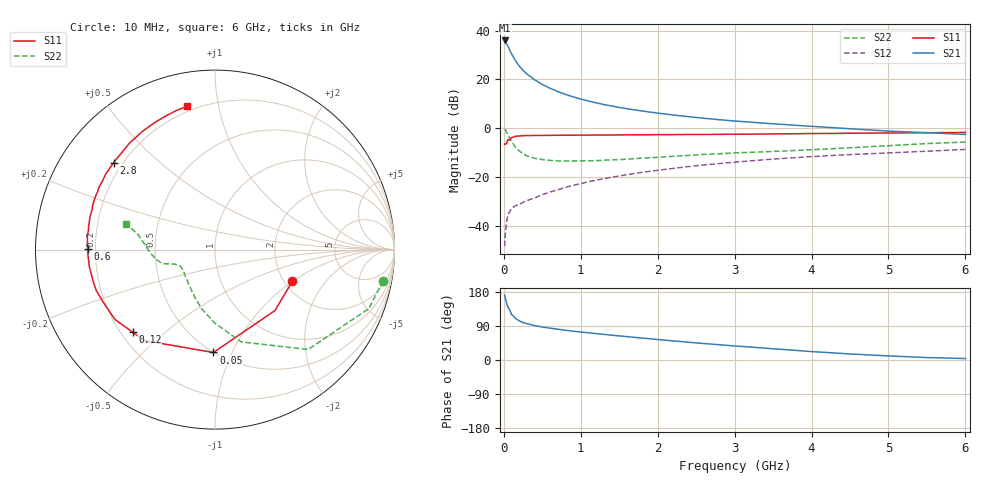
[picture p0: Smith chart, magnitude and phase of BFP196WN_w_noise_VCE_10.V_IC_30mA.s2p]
! Infineon Technologies  Discrete & RF Semiconductors
! BFP196WN
! VCE =  10. V,  IC =  30 mA
! Common Emitter S-Parameters:  Jan 2017
# GHz  S  MA  R  50
!  f  S11  S21  S12  S22
! GHz  MAG  ANG  MAG  ANG  MAG  ANG  MAG  ANG
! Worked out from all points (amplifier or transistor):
!   77 points, 10 MHz to 6 GHz, reference 50 ohm
!   highest |S21| = 35.9 dB at 10 MHz (marker M1)
!   |S21| within 3 dB of that: start of sweep to 63.64 MHz
!   unconditionally stable (mu >= 1): 838.2 MHz to 2.679 GHz
!   at 130 MHz: K = 0.39, MSG = 30.5 dB, |S12| = -32.3 dB
!   at 2.2 GHz: K = 1.03, MAG = 9.9 dB, |S12| = -16.5 dB
!   at 6 GHz: K = 0.89, MSG = 3.1 dB, |S12| = -8.7 dB
!   lowest NFmin = 1.06 dB at 450 MHz
!   S11 on the Smith chart (normalised r, x): 10 MHz: 2.20, -0.99; 50 MHz: 0.50, -0.85; 120 MHz: 0.25, -0.39; 600 MHz: 0.17, +0.00; 2.8 GHz: 0.17, +0.36; 6 GHz: 0.17, +0.81
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0.01  0.4655 -22.3  62.51 171.2  0.0038 75.5  0.9521 -10.5
0.02  0.4766 -45.4  58.85 161.6  0.0071 75.8  0.9179 -21.0
0.05  0.5733 -90.9  49.06 140.3  0.016 57.8  0.7607 -47.0
0.1  0.6421 -127.9  33.11 120.2  0.0227 47.2  0.5349 -74.1
0.12  0.65 -135.0  29.43 116.8  0.0238 45.2  0.4797 -79.6
0.15  0.6798 -145.1  24.18 109.8  0.0256 42.6  0.4077 -90.4
0.2  0.6886 -154.8  18.72 103.4  0.0274 43.4  0.3396 -102.3
0.25  0.6997 -161.1  15.24 99.0  0.03 46.1  0.299 -110.7
0.3  0.7017 -165.8  12.83 95.8  0.0326 47.8  0.2687 -117.7
0.4  0.7064 -172.2  9.754 90.8  0.037 52.1  0.2402 -128.0
0.5  0.7078 -176.8  7.83 87.1  0.0432 54.8  0.2264 -135.5
0.6  0.7099 179.6  6.55 84.0  0.0489 57.4  0.2181 -141.1
0.7  0.7118 176.8  5.611 81.3  0.0541 60.3  0.2122 -144.7
0.8  0.7148 174.1  4.918 78.5  0.0609 61.6  0.2114 -147.5
1.1  0.7169 167.4  3.586 71.8  0.0795 63.9  0.2134 -153.8
1.5  0.7249 160.1  2.65 63.6  0.1045 64.2  0.2259 -158.5
2.1  0.7338 150.1  1.941 52.3  0.1427 62.5  0.2581 -162.0
2.8  0.7447 139.4  1.485 40.3  0.1873 58.8  0.2974 -164.6
3.1  0.7484 134.8  1.36 35.7  0.2062 56.4  0.3145 -167.4
4.1  0.7745 120.2  1.062 21.0  0.2652 48.9  0.3668 -178.6
5.1  0.7952 109.2  0.853 9.9  0.3149 41.6  0.4446 168.4
6  0.8133 101.1  0.741 3.8  0.3653 35.6  0.5165 164.1
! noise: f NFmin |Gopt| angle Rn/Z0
0.45  1.06  0.46  178  0.04
0.9  1.19  0.52  184  0.05
1.9  2.13  0.68  211  0.13
2.4  2.86  0.69  218  0.24
